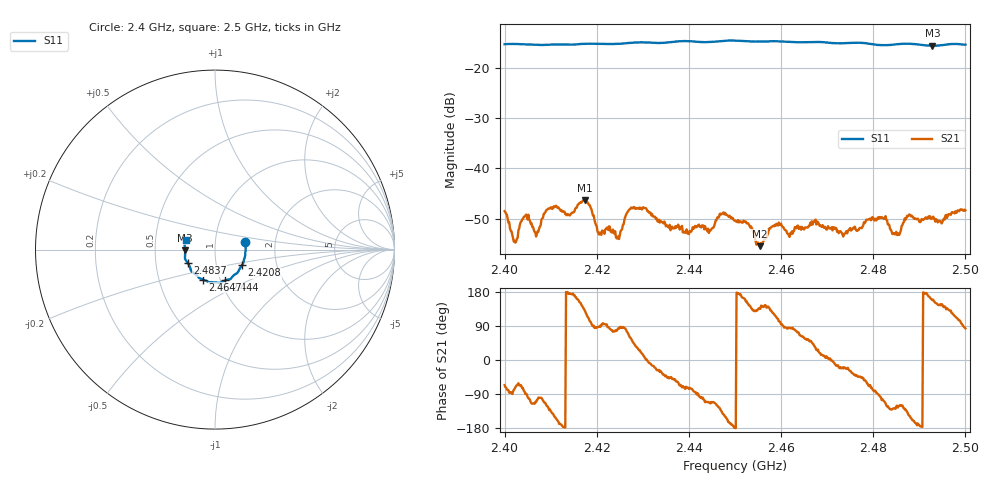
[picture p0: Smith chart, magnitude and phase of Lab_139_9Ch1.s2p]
# Hz S RI R 50
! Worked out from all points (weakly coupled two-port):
!   601 points, 2.4 GHz to 2.5 GHz, reference 50 ohm
!   highest |S21| = -46.28 dB at 2.4175 GHz (marker M1); lowest = -55.5 dB at 2.4553 GHz (marker M2)
!   lowest |S11| = -15.6 dB at 2.4928 GHz (marker M3), VSWR 1.40, Z = 35.8 - j0.337 ohm
!   |S11| at or under -10 dB: start of sweep to end of sweep
!   S12 and S22 are empty: the file has one direction only
!   S11 on the Smith chart (normalised r, x): 2.4 GHz: 1.40, +0.12; 2.4208 GHz: 1.33, -0.24; 2.444 GHz: 1.06, -0.37; 2.4647 GHz: 0.83, -0.29; 2.4837 GHz: 0.73, -0.11; 2.5 GHz: 0.72, +0.08
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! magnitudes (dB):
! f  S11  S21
! 2.4 GHz  -15.3  -48.5
! 2.4023 GHz  -15.2  -54.8
! 2.4043 GHz  -15.3  -49.6
! 2.407 GHz  -15.4  -53.0
! 2.4095 GHz  -15.4  -48.0
! 2.4167 GHz  -15.2  -46.8
! 2.4175 GHz  -15.2  -46.3
! 2.4208 GHz  -15.2  -53.1
! 2.4247 GHz  -15.2  -53.5
! 2.4278 GHz  -15.0  -47.9
! 2.4333 GHz  -15.0  -50.6
! 2.444 GHz  -14.9  -52.5
! 2.4472 GHz  -14.6  -49.0
! 2.45 GHz  -14.5  -50.4
! 2.4553 GHz  -14.8  -55.5
! 2.4587 GHz  -14.7  -51.2
! 2.4647 GHz  -14.9  -52.0
! 2.4667 GHz  -14.8  -50.5
! 2.4833 GHz  -15.5  -51.1
! 2.4837 GHz  -15.4  -52.1
! 2.4928 GHz  -15.6  -50.0
! 2.5 GHz  -15.4  -48.3
